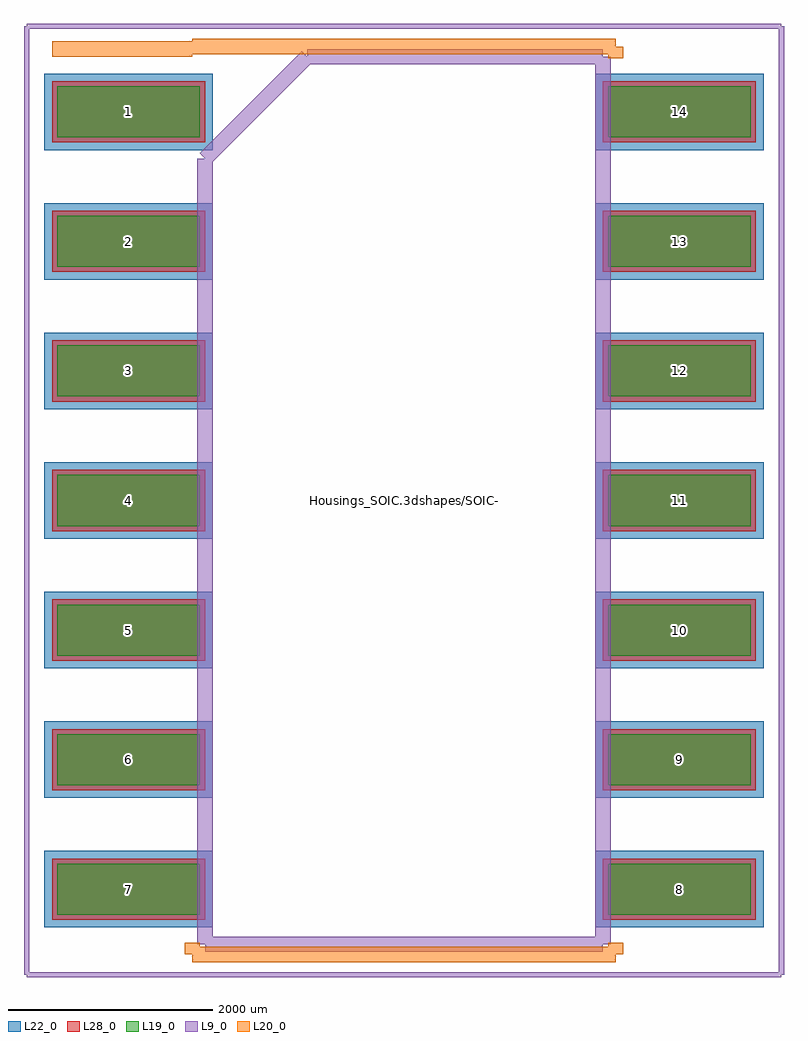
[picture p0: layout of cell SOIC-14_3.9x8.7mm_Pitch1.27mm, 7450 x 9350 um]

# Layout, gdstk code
import gdstk
lib = gdstk.Library(unit=1e-6, precision=1e-09)
def R(c, l, rs):  # rectangles x0, y0, x1, y1
    for r in rs: c.add(gdstk.rectangle(r[:2], r[2:], *l))
def A(c, l, x, y, w, h, nx, ny, dx, dy):  # array of equal rectangles
    R(c, l, [(x+i*dx, y+j*dy, x+i*dx+w, y+j*dy+h) for i in range(nx) for j in range(ny)])
L9_0 = (9, 0)
L19_0 = (19, 0)
L20_0 = (20, 0)
L22_0 = (22, 0)
L28_0 = (28, 0)

soic_14_3_9x8_7mm_pitch1 = lib.new_cell('SOIC-14_3.9x8.7mm_Pitch1.27mm')
A(soic_14_3_9x8_7mm_pitch1, L19_0, -3400, -4060, 1400, 500, 1, 7, 0, 1270)
A(soic_14_3_9x8_7mm_pitch1, L19_0, 2000, -4060, 1400, 500, 1, 7, 0, 1270)
A(soic_14_3_9x8_7mm_pitch1, L22_0, -3525, -4185, 1650, 750, 1, 7, 0, 1270)
A(soic_14_3_9x8_7mm_pitch1, L22_0, 1875, -4185, 1650, 750, 1, 7, 0, 1270)
A(soic_14_3_9x8_7mm_pitch1, L28_0, -3450, -4110, 1500, 600, 1, 7, 0, 1270)
A(soic_14_3_9x8_7mm_pitch1, L28_0, 1950, -4110, 1500, 600, 1, 7, 0, 1270)
soic_14_3_9x8_7mm_pitch1.add(gdstk.FlexPath([(-2075,4425),(-3450,4425)], 149.998, ends="flush", simple_path=True, layer=20, datatype=0))  # L20_0
soic_14_3_9x8_7mm_pitch1.add(gdstk.FlexPath([(-2075,-4450),(2075,-4450)], 149.998, ends="flush", simple_path=True, layer=20, datatype=0))  # L20_0
soic_14_3_9x8_7mm_pitch1.add(gdstk.FlexPath([(-2075,4450),(2075,4450)], 149.998, ends="flush", simple_path=True, layer=20, datatype=0))  # L20_0
soic_14_3_9x8_7mm_pitch1.add(gdstk.FlexPath([(-2075,-4450),(-2075,-4335)], 149.998, ends="flush", simple_path=True, layer=20, datatype=0))  # L20_0
soic_14_3_9x8_7mm_pitch1.add(gdstk.FlexPath([(2075,-4450),(2075,-4335)], 149.998, ends="flush", simple_path=True, layer=20, datatype=0))  # L20_0
soic_14_3_9x8_7mm_pitch1.add(gdstk.FlexPath([(2075,4450),(2075,4335)], 149.998, ends="flush", simple_path=True, layer=20, datatype=0))  # L20_0
soic_14_3_9x8_7mm_pitch1.add(gdstk.FlexPath([(-2075,4450),(-2075,4425)], 149.998, ends="flush", simple_path=True, layer=20, datatype=0))  # L20_0
soic_14_3_9x8_7mm_pitch1.add(gdstk.FlexPath([(-3700,-4650),(3700,-4650)], 50, ends="flush", simple_path=True, layer=9, datatype=0))  # L9_0
soic_14_3_9x8_7mm_pitch1.add(gdstk.FlexPath([(-3700,4650),(3700,4650)], 50, ends="flush", simple_path=True, layer=9, datatype=0))  # L9_0
soic_14_3_9x8_7mm_pitch1.add(gdstk.FlexPath([(3700,4650),(3700,-4650)], 50, ends="flush", simple_path=True, layer=9, datatype=0))  # L9_0
soic_14_3_9x8_7mm_pitch1.add(gdstk.FlexPath([(-3700,4650),(-3700,-4650)], 50, ends="flush", simple_path=True, layer=9, datatype=0))  # L9_0
soic_14_3_9x8_7mm_pitch1.add(gdstk.FlexPath([(-1950,3350),(-950,4350)], 149.998, ends="flush", simple_path=True, layer=9, datatype=0))  # L9_0
soic_14_3_9x8_7mm_pitch1.add(gdstk.FlexPath([(-1950,-4350),(-1950,3350)], 149.998, ends="flush", simple_path=True, layer=9, datatype=0))  # L9_0
soic_14_3_9x8_7mm_pitch1.add(gdstk.FlexPath([(1950,-4350),(-1950,-4350)], 149.998, ends="flush", simple_path=True, layer=9, datatype=0))  # L9_0
soic_14_3_9x8_7mm_pitch1.add(gdstk.FlexPath([(1950,4350),(1950,-4350)], 149.998, ends="flush", simple_path=True, layer=9, datatype=0))  # L9_0
soic_14_3_9x8_7mm_pitch1.add(gdstk.FlexPath([(-950,4350),(1950,4350)], 149.998, ends="flush", simple_path=True, layer=9, datatype=0))  # L9_0
soic_14_3_9x8_7mm_pitch1.add(gdstk.Label('Housings_SOIC.3dshapes/SOIC-14_3.9x8.7mm_Pitch1.27mm.wrl', (0,0), layer=12, texttype=0))
soic_14_3_9x8_7mm_pitch1.add(gdstk.Label('14', (2700,3810), layer=28, texttype=0))
soic_14_3_9x8_7mm_pitch1.add(gdstk.Label('13', (2700,2540), layer=28, texttype=0))
soic_14_3_9x8_7mm_pitch1.add(gdstk.Label('12', (2700,1270), layer=28, texttype=0))
soic_14_3_9x8_7mm_pitch1.add(gdstk.Label('11', (2700,0), layer=28, texttype=0))
soic_14_3_9x8_7mm_pitch1.add(gdstk.Label('10', (2700,-1270), layer=28, texttype=0))
soic_14_3_9x8_7mm_pitch1.add(gdstk.Label('9', (2700,-2540), layer=28, texttype=0))
soic_14_3_9x8_7mm_pitch1.add(gdstk.Label('8', (2700,-3810), layer=28, texttype=0))
soic_14_3_9x8_7mm_pitch1.add(gdstk.Label('7', (-2700,-3810), layer=28, texttype=0))
soic_14_3_9x8_7mm_pitch1.add(gdstk.Label('6', (-2700,-2540), layer=28, texttype=0))
soic_14_3_9x8_7mm_pitch1.add(gdstk.Label('5', (-2700,-1270), layer=28, texttype=0))
soic_14_3_9x8_7mm_pitch1.add(gdstk.Label('4', (-2700,0), layer=28, texttype=0))
soic_14_3_9x8_7mm_pitch1.add(gdstk.Label('3', (-2700,1270), layer=28, texttype=0))
soic_14_3_9x8_7mm_pitch1.add(gdstk.Label('2', (-2700,2540), layer=28, texttype=0))
soic_14_3_9x8_7mm_pitch1.add(gdstk.Label('1', (-2700,3810), layer=28, texttype=0))
soic_14_3_9x8_7mm_pitch1.add(gdstk.Label('type', (0,-5375), layer=9, texttype=0))
soic_14_3_9x8_7mm_pitch1.add(gdstk.Label('devicename', (0,5375), layer=9, texttype=0))

lib.write_gds('SOIC-14_3.9x8.7mm_Pitch1.27mm.gds')
